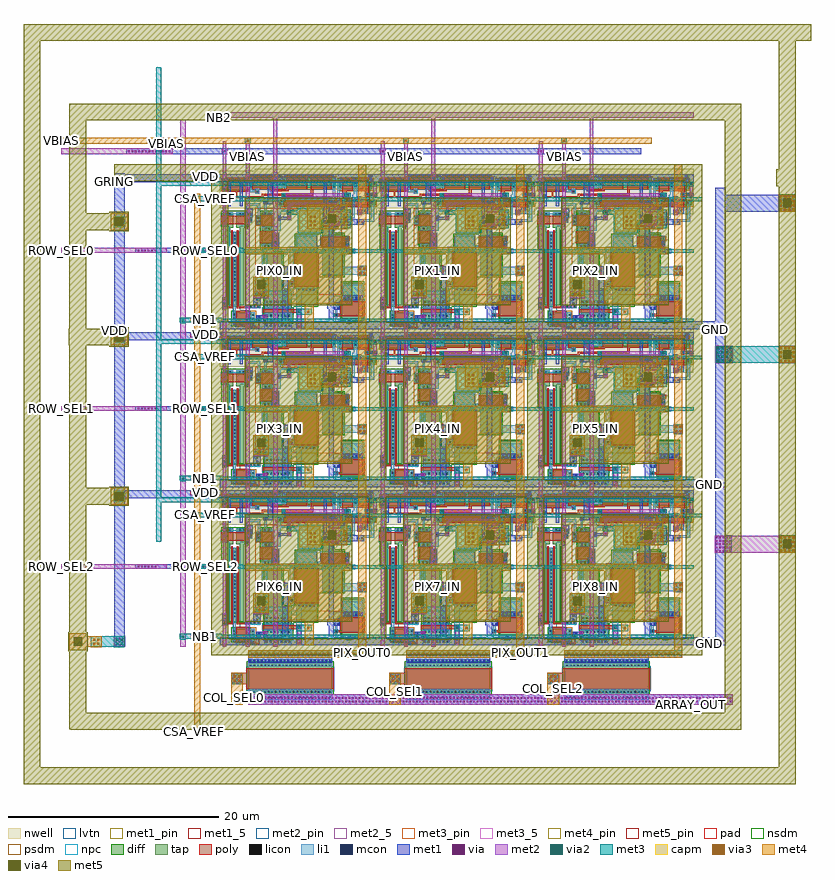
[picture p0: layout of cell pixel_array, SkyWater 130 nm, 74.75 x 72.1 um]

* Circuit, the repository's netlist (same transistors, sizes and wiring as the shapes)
* NGSPICE file created from pixel_array.ext - technology: sky130A

.subckt pixel gring VDD GND VREF ROW_SEL NB1 VBIAS NB2 AMP_IN SF_IB PIX_OUT CSA_VREF
X0 GND GND GND GND sky130_fd_pr__nfet_01v8_lvt ad=3.5 pd=7.5 as=24.809025 ps=56.34 w=2 l=1.44
X1 a_4120_n520# VBIAS a_4120_n750# GND sky130_fd_pr__nfet_01v8_lvt ad=0.35 pd=2.7 as=1.995 ps=8.8 w=1 l=0.8
X2 a_5720_n730# a_4600_n810# GND VDD sky130_fd_pr__pfet_01v8_lvt ad=0.25 pd=1.5 as=0.35 ps=2.7 w=1 l=1
X3 a_4330_n30# a_3852_n32# a_3852_n32# VDD sky130_fd_pr__pfet_01v8_lvt ad=0.23 pd=1.65 as=0.3927 ps=2.8 w=1 l=2
X4 VDD SF_IB a_5720_n730# VDD sky130_fd_pr__pfet_01v8_lvt ad=0.35 pd=2.7 as=0.25 ps=1.5 w=1 l=1
X5 a_5460_10# a_4330_n30# VDD VDD sky130_fd_pr__pfet_01v8_lvt ad=0.175 pd=1.35 as=0.35 ps=2.7 w=1 l=2
X6 a_3852_n32# VBIAS a_3860_n1150# GND sky130_fd_pr__nfet_01v8_lvt ad=0.35 pd=2.7 as=1.76 ps=8.8 w=1 l=0.8
X7 VDD a_4120_n520# a_4600_n810# GND sky130_fd_pr__nfet_01v8_lvt ad=0.3 pd=2.6 as=0.25 ps=1.5 w=1 l=1
X8 a_4120_n750# AMP_IN a_4050_n2590# GND sky130_fd_pr__nfet_01v8_lvt ad=1.995 pd=8.8 as=1.4 ps=7.4 w=7 l=0.15
X9 GND GND GND GND sky130_fd_pr__nfet_01v8_lvt ad=3.119375 pd=7.15 as=0 ps=0 w=2 l=3.35
X10 a_4120_n520# a_3852_n32# a_5460_10# VDD sky130_fd_pr__pfet_01v8_lvt ad=0.35 pd=2.7 as=0.175 ps=1.35 w=1 l=2
X11 AMP_IN a_4600_n810# sky130_fd_pr__cap_mim_m3_1 l=2 w=2
X12 GND NB1 a_4050_n2590# GND sky130_fd_pr__nfet_01v8_lvt ad=0.42 pd=3.1 as=0.42 ps=3.1 w=1.2 l=1
X13 a_5750_n920# ROW_SEL PIX_OUT GND sky130_fd_pr__nfet_01v8_lvt ad=0.6 pd=2.95 as=5.4 ps=9.4 w=2 l=1
X14 a_4050_n2590# VREF a_3860_n1150# GND sky130_fd_pr__nfet_01v8_lvt ad=1.4 pd=7.4 as=1.76 ps=8.8 w=7 l=0.15
X15 a_4600_n810# NB2 GND GND sky130_fd_pr__nfet_01v8_lvt ad=0.25 pd=1.5 as=0.5 ps=3 w=1 l=1.15
X16 VDD a_4330_n30# a_4330_n30# VDD sky130_fd_pr__pfet_01v8_lvt ad=0.35 pd=2.7 as=0.23 ps=1.65 w=1 l=2
X17 VDD a_5720_n730# a_5750_n920# GND sky130_fd_pr__nfet_01v8_lvt ad=0.35 pd=2.7 as=0.6 ps=2.95 w=1 l=0.15
X18 AMP_IN CSA_VREF a_4600_n810# VDD sky130_fd_pr__pfet_01v8_lvt ad=0.294 pd=2.24 as=0.273 ps=2.14 w=0.42 l=8
X19 GND GND GND GND sky130_fd_pr__nfet_01v8_lvt ad=10.715 pd=15.9 as=0 ps=0 w=2.6 l=0.35
.ends

.subckt pixel_array VBIAS VREF NB2 VDD SF_IB CSA_VREF NB1 ROW_SEL0 GND ROW_SEL1 ROW_SEL2
+ PIX0_IN GRING PIX1_IN PIX2_IN PIX3_IN PIX4_IN PIX5_IN PIX6_IN PIX_OUT0 PIX7_IN PIX_OUT1
+ PIX8_IN PIX_OUT2 ARRAY_OUT COL_SEL0 COL_SEl1 COL_SEL2
Xpixel_0 GRING VDD GND VREF ROW_SEL0 NB1 VBIAS NB2 PIX0_IN SF_IB PIX_OUT0 CSA_VREF
+ pixel
Xpixel_1 GRING VDD GND VREF ROW_SEL0 NB1 VBIAS NB2 PIX1_IN SF_IB PIX_OUT1 CSA_VREF
+ pixel
Xpixel_2 GRING VDD GND VREF ROW_SEL0 NB1 VBIAS NB2 PIX2_IN SF_IB PIX_OUT2 CSA_VREF
+ pixel
Xpixel_3 GRING VDD GND VREF ROW_SEL1 NB1 VBIAS NB2 PIX3_IN SF_IB PIX_OUT0 CSA_VREF
+ pixel
Xpixel_5 GRING VDD GND VREF ROW_SEL1 NB1 VBIAS NB2 PIX5_IN SF_IB PIX_OUT2 CSA_VREF
+ pixel
Xpixel_4 GRING VDD GND VREF ROW_SEL1 NB1 VBIAS NB2 PIX4_IN SF_IB PIX_OUT1 CSA_VREF
+ pixel
Xpixel_6 GRING VDD GND VREF ROW_SEL2 NB1 VBIAS NB2 PIX6_IN SF_IB PIX_OUT0 CSA_VREF
+ pixel
Xpixel_7 GRING VDD GND VREF ROW_SEL2 NB1 VBIAS NB2 PIX7_IN SF_IB PIX_OUT1 CSA_VREF
+ pixel
Xpixel_8 GRING VDD GND VREF ROW_SEL2 NB1 VBIAS NB2 PIX8_IN SF_IB PIX_OUT2 CSA_VREF
+ pixel
X0 PIX_OUT2 COL_SEL2 ARRAY_OUT GND sky130_fd_pr__nfet_01v8_lvt ad=4 pd=17 as=3.2 ps=16.8 w=8 l=2
X1 PIX_OUT1 COL_SEl1 ARRAY_OUT GND sky130_fd_pr__nfet_01v8_lvt ad=4 pd=17 as=3.2 ps=16.8 w=8 l=2
X2 PIX_OUT0 COL_SEL0 ARRAY_OUT GND sky130_fd_pr__nfet_01v8_lvt ad=4 pd=17 as=3.2 ps=16.8 w=8 l=2
.ends

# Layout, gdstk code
import gdstk
lib = gdstk.Library(unit=1e-6, precision=1e-09)
def R(c, l, rs):  # rectangles x0, y0, x1, y1
    for r in rs: c.add(gdstk.rectangle(r[:2], r[2:], *l))
def A(c, l, x, y, w, h, nx, ny, dx, dy):  # array of equal rectangles
    R(c, l, [(x+i*dx, y+j*dy, x+i*dx+w, y+j*dy+h) for i in range(nx) for j in range(ny)])
nwell = (64, 20)
diff = (65, 20)
tap = (65, 44)
poly = (66, 20)
licon = (66, 44)
li1 = (67, 20)
mcon = (67, 44)
met1_5 = (68, 5)
met1_pin = (68, 16)
met1 = (68, 20)
via = (68, 44)
met2_5 = (69, 5)
met2_pin = (69, 16)
met2 = (69, 20)
via2 = (69, 44)
met3_5 = (70, 5)
met3_pin = (70, 16)
met3 = (70, 20)
via3 = (70, 44)
met4_pin = (71, 16)
met4 = (71, 20)
via4 = (71, 44)
met5_pin = (72, 16)
met5 = (72, 20)
pad = (76, 20)
capm = (89, 44)
nsdm = (93, 44)
psdm = (94, 20)
npc = (95, 20)
lvtn = (125, 44)

pixel = lib.new_cell('pixel')
R(pixel, nwell, [(24.44,-2.47,33.92,-1.9), (19,-1.9,34,1.68), (22.32,1.68,34,1.88)])
R(pixel, diff, [(20.25,-12.95,21.95,-11.75), (23.25,-12.72,25.85,-9.65), (31.145,-12.715,31.435,-12.43), (30.6,-12.43,32.6,-8.95), (19.8,-11.1,21.3,-5.75), (26.25,-11.1,28.25,-5.65), (23.25,-9.65,24.95,-6.1), (28.75,-8.3,30.75,-4.35), (19.3,-5.75,21.3,-4.1), (23,-5.7,24,-2.25), (26.275,-5.65,28.25,-4.425), (28.75,-4.35,29.75,-3.15), (19.3,-4.1,20,-3.75), (20.9,-4.1,21.3,-3.75), (19.3,-3.75,20.3,-2.25), (20.6,-3.75,21.6,-2.25), (24.45,-1.6,33.8,-1.18), (19.26,-0.16,19.53,-0.15), (19.26,-0.15,21.8,0.05), (30.3,-0.1,33.5,0.9), (19.26,0.05,24.45,0.85), (24.95,0.05,30,1.05), (21.75,0.85,24.45,1.05)])
R(pixel, tap, [(21.95,-12.95,22.35,-11.75), (24.45,0.05,24.95,1.05)])
R(pixel, poly, [(21.45,-13.25,22.8,-13.1), (20.6,-13.1,21.6,-11.6), (22.65,-13.1,22.8,-12.75), (22.55,-12.75,22.9,-12.7), (22.5,-12.7,22.95,-12.35), (29.935,-12.175,30.205,-12.115), (30.44,-12.14,32.75,-12.115), (29.935,-12.115,32.75,-11.905), (29.935,-11.905,30.205,-11.845), (30.44,-11.905,32.75,-11.9), (30.45,-11.9,32.75,-10.7), (23.1,-11.8,26.8,-11.45), (19.25,-11.5,19.7,-11.35), (19.25,-11.35,20.25,-11.2), (20.65,-11.35,22.85,-11.2), (19.25,-11.2,19.7,-11.05), (20.1,-11.2,20.25,-3.95), (20.65,-11.2,20.8,-3.95), (21.4,-11.2,22.85,-11.05), (25.55,-9.35,28.4,-8.8), (26.1,-8.8,28.4,-6), (28.6,-5.6,30.9,-4.95), (22.8,-5.2,24.2,-5.05), (22.8,-5.05,24.65,-4.2), (28.6,-4.95,31.35,-4.6), (30.95,-4.6,31.35,-4.55), (22.8,-4.2,24.2,-4.05), (29.85,-3.75,30.3,-3.65), (28.6,-3.65,30.3,-3.5), (22.5,-3.55,24.15,-2.55), (29.85,-3.5,30.3,-3.4), (19.15,-3.4,21.75,-3.25), (19.15,-3.25,22.1,-2.75), (19.15,-2.75,21.75,-2.6), (32.55,-2.4,33.1,-1.75), (25.1,-1.75,33.1,-1.04), (19.65,-0.92,19.98,-0.9), (19.65,-0.9,23.15,-0.75), (30.65,-0.8,31.05,-0.25), (32.75,-0.8,33.15,-0.25), (19.65,-0.75,19.98,-0.56), (20.515,-0.75,20.665,-0.3), (23,-0.75,23.15,-0.7), (23,-0.7,27.9,-0.5), (22.4,-0.5,22.75,-0.1), (27.65,-0.5,27.9,-0.1), (19.65,-0.3,21.65,1), (23.85,-0.25,25.55,-0.1), (30.65,-0.25,31.65,1.05), (32.15,-0.25,33.15,1.05), (22.1,-0.1,24.1,1.2), (25.3,-0.1,27.3,1.2), (27.65,-0.1,29.65,1.2)])
A(pixel, licon, 22.115, -12.775, 0.17, 0.17, 1, 3, 0, 0.34)
A(pixel, licon, 20.315, -12.75, 0.17, 0.17, 1, 3, 0, 0.34)
A(pixel, licon, 21.715, -12.75, 0.17, 0.17, 1, 3, 0, 0.34)
A(pixel, licon, 23.445, -12.505, 0.17, 0.17, 7, 2, 0.34, 0.34)
A(pixel, licon, 21.555, -11.285, 0.17, 0.17, 4, 1, 0.34, 0)
A(pixel, licon, 23.42, -11.18, 0.17, 0.17, 7, 2, 0.34, 0.34)
A(pixel, licon, 20.365, -10.695, 0.17, 0.17, 1, 19, 0, 0.34)
A(pixel, licon, 30.835, -10.585, 0.17, 0.17, 5, 1, 0.34, 0)
A(pixel, licon, 26.485, -9.66, 0.17, 0.17, 5, 2, 0.34, 3.775)
A(pixel, licon, 28.91, -5.91, 0.17, 0.17, 5, 1, 0.34, 0)
A(pixel, licon, 19.34, -0.07, 0.17, 0.17, 1, 3, 0, 0.34)
A(pixel, licon, 24.215, 0.295, 0.17, 0.17, 3, 2, 0.4, 0.34)
R(pixel, licon, [(31.205,-12.635,31.375,-12.465), (22.64,-12.61,22.81,-12.44), (29.985,-12.095,30.155,-11.925), (26.415,-11.71,26.585,-11.54), (19.39,-11.36,19.56,-11.19), (25.765,-9.16,25.935,-8.99), (23.22,-5.56,23.39,-5.39), (23.56,-5.56,23.73,-5.39), (24.365,-4.88,24.535,-4.71), (31.04,-4.835,31.21,-4.665), (24.365,-4.54,24.535,-4.37), (23.295,-3.885,23.465,-3.715), (23.635,-3.885,23.805,-3.715), (29.99,-3.66,30.16,-3.49), (28.915,-3.385,29.085,-3.215), (29.315,-3.385,29.485,-3.215), (22.59,-3.23,22.76,-3.06), (21.815,-3.085,21.985,-2.915), (22.59,-2.89,22.76,-2.72), (19.545,-2.485,19.715,-2.315), (19.885,-2.485,20.055,-2.315), (20.845,-2.485,21.015,-2.315), (21.185,-2.485,21.355,-2.315), (23.215,-2.475,23.385,-2.305), (23.615,-2.475,23.785,-2.305), (32.74,-2.235,32.91,-2.065), (24.665,-1.51,24.835,-1.34), (33.34,-1.445,33.51,-1.275), (19.715,-0.825,19.885,-0.655), (30.765,-0.66,30.935,-0.49), (32.865,-0.66,33.035,-0.49), (22.515,-0.385,22.685,-0.215), (31.815,0.095,31.985,0.265), (21.85,0.1,22.02,0.27), (29.75,0.1,29.92,0.27), (30.38,0.135,30.55,0.305), (33.265,0.145,33.435,0.315), (31.815,0.435,31.985,0.605), (30.38,0.475,30.55,0.645), (33.265,0.485,33.435,0.655), (21.85,0.5,22.02,0.67), (29.75,0.5,29.92,0.67)])
R(pixel, li1, [(21.9,-13.35,22.15,-12.95), (23.25,-13.35,25.85,-11.8), (26.25,-13.35,26.8,-10.5), (20.25,-12.95,20.55,-11.75), (21.65,-12.95,22.35,-11.75), (22.55,-12.75,22.9,-12.35), (29.975,-12.695,31.435,-12.655), (29.975,-12.655,31.475,-12.615), (29.965,-12.615,31.475,-12.445), (29.965,-12.445,31.435,-12.405), (29.965,-12.405,30.175,-12.095), (22.55,-12.35,23,-12.05), (29.905,-12.095,30.235,-11.925), (29.965,-11.925,30.175,-11.43), (20.3,-11.75,20.55,-11.1), (19.25,-11.5,19.7,-10.75), (29.8,-11.43,30.35,-10.6), (23.3,-11.4,25.75,-10.5), (21.45,-11.35,22.9,-11.05), (20.3,-11.1,20.6,-4.1), (22.2,-11.05,22.9,-10.4), (29.8,-10.6,32.6,-10.2), (23.3,-10.5,26.8,-10), (29.8,-10.2,30.35,-10.175), (30.65,-10.2,32.55,-9.15), (23.3,-10,26.05,-9.7), (26.25,-10,26.8,-9.75), (26.25,-9.75,28.25,-9.45), (25.65,-9.7,26.05,-9.35), (25.6,-9.35,26.1,-8.8), (25.65,-8.8,26.05,-5.9), (28.75,-8.2,32.95,-7.45), (23,-7.9,23.5,-5.7), (28.75,-7.45,30.7,-5.7), (25.65,-5.9,28.25,-5.55), (23,-5.7,23.9,-5.25), (26.3,-5.55,28.2,-4.45), (31,-5.55,31.25,-4.5), (24.1,-5.45,24.65,-5.05), (24.05,-5.05,24.65,-4.2), (23.1,-4,24.8,-3.95), (23,-3.95,24.8,-3.65), (29.95,-3.85,30.2,-3.75), (29.9,-3.75,30.25,-3.4), (23.1,-3.65,24.8,-3.6), (24.45,-3.6,24.8,-2.2), (22.5,-3.45,22.85,-2.55), (32,-3.45,32.65,-3.15), (28.8,-3.4,29.7,-3.1), (29.95,-3.4,30.2,-2.85), (21.7,-3.25,22.1,-2.75), (32,-3.15,33.65,-2.9), (28.8,-3.1,29.15,-2.55), (33.35,-2.9,33.65,-1.55), (29.95,-2.85,31.8,-2.65), (21.85,-2.75,22.1,-2.3), (31.6,-2.65,31.8,-0.9), (19.3,-2.55,20.3,-2.25), (20.6,-2.55,21.6,-2.25), (22.6,-2.55,22.85,-1.65), (23.1,-2.5,24,-2.25), (32.15,-2.4,33.1,-2.15), (19.3,-2.25,19.5,-0.84), (21.4,-2.25,21.6,-1.65), (23.25,-2.25,23.45,-1.45), (24.45,-2.2,26.09,-2), (29.27,-2.2,30.9,-2), (32.6,-2.15,33.05,-1.85), (24.45,-2,24.8,-1.6), (25.89,-2,26.09,-1.99), (30.7,-2,30.9,-0.95), (21.4,-1.65,22.85,-1.4), (24.45,-1.6,25.05,-1.25), (29.35,-1.6,30.4,-1.25), (33.2,-1.55,33.65,-1.18), (23.25,-1.45,23.6,-1.25), (21.4,-1.4,21.6,-1.05), (30.15,-1.25,30.4,-0.1), (21.4,-1.05,29.95,-0.85), (30.65,-0.95,31.05,-0.8), (19.69,-0.92,19.98,-0.84), (31.6,-0.9,32.05,-0.6), (29.75,-0.85,29.95,1.05), (19.3,-0.84,19.98,-0.64), (30.6,-0.8,31.1,-0.4), (32.7,-0.7,33.6,-0.45), (19.3,-0.64,19.5,-0.16), (19.69,-0.64,19.98,-0.56), (31.75,-0.6,32.05,0.85), (22.4,-0.5,22.75,-0.35), (21.85,-0.35,22.75,-0.15), (19.26,-0.16,19.6,-0.15), (19.26,-0.15,19.61,0.85), (21.85,-0.15,22.05,1.05), (22.4,-0.15,22.75,-0.05), (30.15,-0.1,30.55,0.9), (33.25,-0.1,33.45,1.1), (24.1,0.05,25.3,1.05), (24.45,1.05,24.95,1.35), (33.15,1.1,33.55,1.3), (33.25,1.3,33.45,1.35)])
A(pixel, mcon, 23.385, -13.085, 0.17, 0.17, 7, 1, 0.36, 0)
A(pixel, mcon, 30.795, -10.46, 0.17, 0.17, 5, 1, 0.36, 0)
R(pixel, mcon, [(21.915,-13.285,22.085,-13.115), (26.44,-13.215,26.61,-13.045), (26.44,-12.855,26.61,-12.685), (22.69,-12.285,22.86,-12.115), (29.81,-11.42,29.98,-11.25), (30.17,-11.42,30.34,-11.25), (29.81,-11.06,29.98,-10.89), (30.17,-11.06,30.34,-10.89), (22.465,-10.99,22.635,-10.82), (19.39,-10.96,19.56,-10.79), (22.465,-10.63,22.635,-10.46), (32.26,-8.09,32.43,-7.92), (32.62,-8.09,32.79,-7.92), (23.165,-7.735,23.335,-7.565), (32.26,-7.73,32.43,-7.56), (32.62,-7.73,32.79,-7.56), (24.29,-5.36,24.46,-5.19), (31.04,-5.36,31.21,-5.19), (32.06,-3.26,32.23,-3.09), (32.42,-3.26,32.59,-3.09), (28.89,-3.19,29.06,-3.02), (24.54,-2.91,24.71,-2.74), (28.89,-2.83,29.06,-2.66), (21.89,-2.585,22.06,-2.415), (32.19,-2.36,32.36,-2.19), (30.715,-1.965,30.885,-1.795), (29.54,-1.485,29.71,-1.315), (23.34,-1.435,23.51,-1.265), (33.415,-0.66,33.585,-0.49), (24.615,1.09,24.785,1.26), (33.265,1.115,33.435,1.285)])
R(pixel, met1, [(19,-13.35,34,-12.6), (24.95,-12.6,25.5,-7.9), (29.35,-12.6,29.85,-11.49), (22.5,-12.35,23.5,-12.05), (29.35,-11.49,30.38,-11.43), (29.225,-11.43,30.38,-10.88), (22.2,-11.1,22.9,-9.75), (19.25,-11.05,19.7,-10.3), (29.35,-10.88,30.38,-10.82), (29.35,-10.82,29.85,-1.6), (30.6,-10.6,32.6,-10.15), (32.1,-8.2,32.95,-7.45), (22.95,-7.9,25.5,-7.4), (30.95,-6,31.3,-5), (23.95,-5.75,24.65,-5.05), (30.3,-3.45,32.7,-2.9), (28.86,-3.35,29.15,-1.89), (21.85,-3.05,22.1,-2.75), (24.45,-3.05,24.8,-2.95), (24.45,-2.95,25.8,-2.7), (21.8,-2.75,22.15,-2.3), (24.45,-2.7,24.8,-2.6), (25.4,-2.7,25.8,-2.6), (32.05,-2.5,32.5,-2), (21.4,-2.3,22.15,-1.95), (30.67,-2.04,30.93,-1.98), (30.15,-2.01,30.47,-1.98), (30.15,-1.98,30.93,-1.78), (28.87,-1.89,29.15,0.6), (30.15,-1.78,30.47,-1.75), (30.67,-1.78,30.93,-1.72), (19.75,-1.7,20.05,0.6), (20.9,-1.7,21.2,0.6), (29.35,-1.6,29.95,-1.15), (23.15,-1.5,24.05,-1.15), (23.55,-1.15,24.05,0.6), (33.3,-0.75,33.95,-0.4), (19,0.6,34,1.35)])
A(pixel, via, 30.455, -3.25, 0.15, 0.15, 3, 1, 0.32, 0)
R(pixel, via, [(26.475,-13.2,26.625,-13.05), (23.2,-12.275,23.35,-12.125), (19.4,-10.6,19.55,-10.45), (22.315,-10.175,22.465,-10.025), (22.635,-10.175,22.785,-10.025), (32.29,-8.06,32.44,-7.91), (32.61,-8.06,32.76,-7.91), (32.29,-7.74,32.44,-7.59), (32.61,-7.74,32.76,-7.59), (31.05,-5.8,31.2,-5.65), (24.225,-5.625,24.375,-5.475), (25.525,-2.825,25.675,-2.675), (32.2,-2.325,32.35,-2.175), (21.55,-2.175,21.7,-2.025), (30.235,-1.955,30.385,-1.805), (33.675,-0.65,33.825,-0.5)])
R(pixel, met2, [(19.3,-13.5,19.65,1.5), (21.5,-13.5,21.85,-2.3), (24.1,-13.5,24.5,1.5), (26.35,-13.35,26.75,-11.4), (23.1,-12.85,23.5,-12), (22.2,-10.4,23.65,-9.75), (32.1,-8.25,32.95,-7.4), (30.95,-6.1,31.85,-5.75), (30.95,-5.75,31.3,-5.45), (29.35,-3.55,31.45,-2.2), (25.4,-3,25.8,-2), (32.1,-2.55,32.45,-0.75), (21.4,-2.3,21.9,-1.95), (30.18,-2.04,30.44,-1.98), (25.485,-2,25.715,-1.575), (29.91,-1.98,30.44,-1.72), (21.5,-1.95,21.85,1.5), (29.91,-1.72,30.29,-1.58), (29.91,-1.58,30.11,-1.54), (25.485,-1.575,26.095,-1.54), (25.485,-1.54,30.11,-1.345), (25.89,-1.345,30.11,-1.34), (30.955,-0.85,31.305,-0.805), (33.6,-0.85,33.9,0.65), (24.92,-0.825,25.22,-0.805), (24.895,-0.805,31.305,-0.455), (24.92,-0.455,25.22,-0.435), (30.955,-0.455,31.305,-0.41)])
A(pixel, via2, 22.425, -10.125, 0.2, 0.2, 3, 1, 0.4, 0)
R(pixel, via2, [(23.2,-12.675,23.4,-12.475), (26.45,-11.775,26.65,-11.575), (32.225,-8.125,32.425,-7.925), (32.625,-8.125,32.825,-7.925), (32.225,-7.725,32.425,-7.525), (32.625,-7.725,32.825,-7.525), (31.475,-6.025,31.675,-5.825), (30.9,-3.225,31.1,-3.025), (30.9,-2.825,31.1,-2.625), (25.525,-2.35,25.725,-2.15), (32.175,-1.125,32.375,-0.925), (24.97,-0.73,25.17,-0.53), (31.03,-0.73,31.23,-0.53), (33.65,0.35,33.85,0.55)])
R(pixel, met3, [(23.1,-12.8,23.5,-12.7), (19,-12.7,34,-12.35), (26.25,-12,27.75,-11.4), (22.2,-10.25,23.65,-8.4), (32.1,-8.3,32.95,-7.35), (31.3,-6.15,31.85,-6.1), (19,-6.1,34,-5.75), (31.3,-5.75,31.85,-5.7), (26.4,-4.2,28.85,-2.5), (30.5,-3.79,31.42,-2.01), (25.4,-2.5,28.85,-2.45), (25.35,-2.45,28.85,-2.1), (25.4,-2.1,28.85,-2.05), (26.4,-2.05,28.85,-1.9), (32.05,-1.25,32.5,-1.2), (18.7,-1.2,25.245,-0.85), (30.63,-1.2,34.8,-0.85), (24.895,-0.85,25.245,-0.455), (30.87,-0.85,31.42,-0.43), (32.05,-0.85,32.5,-0.8), (33.55,0.2,33.95,0.25), (19,0.25,34,0.6), (33.55,0.6,33.95,0.65)])
A(pixel, via3, 22.65, -10.075, 0.2, 0.2, 1, 4, 0, 0.4)
A(pixel, via3, 23.05, -10.075, 0.2, 0.2, 1, 4, 0, 0.4)
A(pixel, via3, 27.54, -3.6, 0.2, 0.2, 1, 3, 0, 0.4)
A(pixel, via3, 27.94, -3.6, 0.2, 0.2, 1, 3, 0, 0.4)
A(pixel, via3, 30.735, -3.4, 0.2, 0.2, 1, 3, 0, 0.4)
R(pixel, via3, [(27.325,-11.8,27.525,-11.6), (32.225,-8.125,32.425,-7.925), (32.625,-8.125,32.825,-7.925), (32.225,-7.725,32.425,-7.525), (32.625,-7.725,32.825,-7.525)])
R(pixel, met4, [(32.15,-14.3,32.9,-8.25), (27.1,-13.35,27.95,-10.95), (25.5,-10.95,30.65,-6.25), (22.2,-10.25,23.65,-8.4), (32.1,-8.25,32.95,-7.4), (32.15,-7.4,32.9,2.3), (21.4,-6.25,31.6,-5.6), (27.3,-3.85,31.1,-1.55)])
R(pixel, via4, [(22.55,-9.525,23.35,-8.725), (29.25,-3.275,30.05,-2.475)])
R(pixel, met5, [(18.2,-14.3,34.8,-12.7), (18.2,-12.7,19.8,0.7), (33.2,-12.7,34.8,0.7), (21.4,-11.1,31.6,-0.9), (18.2,0.7,34.8,2.3)])
R(pixel, pad, [(22.4,-10.1,30.6,-1.9)])
R(pixel, capm, [(26.55,-4.05,28.55,-2.05)])
R(pixel, nsdm, [(20.125,-13.075,21.95,-11.625), (23.125,-12.845,25.975,-11.225), (31.02,-12.84,31.56,-12.555), (30.475,-12.555,32.725,-8.825), (19.675,-11.225,21.425,-5.875), (23.125,-11.225,28.375,-9.525), (23.125,-9.525,25.075,-5.975), (26.125,-9.525,28.375,-8.425), (26.125,-8.425,30.875,-5.525), (23.125,-5.975,24.125,-5.825), (19.175,-5.875,21.425,-3.875), (22.875,-5.825,24.125,-2.125), (26.15,-5.525,30.875,-4.3), (28.625,-4.3,30.875,-4.225), (28.625,-4.225,29.875,-3.025), (19.175,-3.875,21.725,-2.125), (24.45,-0.075,24.95,1.175)])
R(pixel, psdm, [(21.95,-13.075,22.475,-11.625), (24.325,-1.725,33.925,-1.055), (19.135,-0.285,19.655,-0.275), (19.135,-0.275,21.925,-0.075), (30.175,-0.225,33.625,-0.075), (19.135,-0.075,24.45,0.975), (24.95,-0.075,33.625,1.025), (21.625,0.975,24.45,1.175), (24.95,1.025,30.125,1.175)])
R(pixel, npc, [(22.54,-12.71,22.91,-12.34), (29.885,-12.195,30.255,-11.825), (26.315,-11.81,26.685,-11.44), (19.29,-11.46,19.66,-11.09), (21.455,-11.385,22.845,-11.015), (25.665,-9.26,26.035,-8.89), (24.265,-4.98,24.635,-4.27), (30.94,-4.935,31.31,-4.565), (29.89,-3.76,30.26,-3.39), (22.49,-3.33,22.86,-2.62), (21.715,-3.185,22.085,-2.815), (32.64,-2.335,33.01,-1.965), (19.615,-0.925,19.985,-0.555), (30.665,-0.76,31.035,-0.39), (32.765,-0.76,33.135,-0.39), (22.415,-0.485,22.785,-0.115)])
R(pixel, lvtn, [(20.42,-13.13,21.78,-11.9), (30.42,-12.32,32.78,-10.52), (23.07,-11.98,26.03,-11.27), (20.235,-11.9,21.78,-11.57), (20.235,-11.57,20.98,-11.28), (19.92,-11.28,20.98,-3.58), (26.07,-9.53,28.43,-6.185), (26.07,-6.185,28.69,-5.82), (28.31,-5.82,28.69,-5.78), (28.31,-5.78,30.93,-5.415), (28.57,-5.415,30.93,-4.42), (22.82,-5.38,24.18,-2.37), (28.57,-3.83,29.93,-3.32), (19.12,-3.58,21.78,-2.42), (24.92,-1.78,33.28,-1), (19.47,-0.33,21.83,-0.13), (30.47,-0.28,33.33,1.08), (19.47,-0.13,24.28,1.03), (25.12,-0.13,29.83,1.23), (21.92,1.03,24.28,1.23)])
pixel.add(gdstk.Label('gring', (33.5,-8.4), layer=72, texttype=5))
pixel.add(gdstk.Label('VDD', (19.15,1.2), layer=68, texttype=5))
pixel.add(gdstk.Label('GND', (19.55,-13.1), layer=68, texttype=5))
pixel.add(gdstk.Label('VREF', (19.35,1.45), layer=69, texttype=5))
pixel.add(gdstk.Label('ROW_SEL', (33.9,-5.9), layer=70, texttype=5))
pixel.add(gdstk.Label('NB1', (33.85,-12.55), layer=70, texttype=5))
pixel.add(gdstk.Label('VBIAS', (21.65,1.45), layer=69, texttype=5))
pixel.add(gdstk.Label('NB2', (24.3,1.4), layer=69, texttype=5))
pixel.add(gdstk.Label('AMP_IN', (28.45,-9.75), layer=72, texttype=5))
pixel.add(gdstk.Label('SF_IB', (33.95,0.5), layer=70, texttype=5))
pixel.add(gdstk.Label('PIX_OUT', (32.55,-14.25), layer=71, texttype=5))
pixel.add(gdstk.Label('CSA_VREF', (19,-1), layer=70, texttype=5))

pixel_array = lib.new_cell('pixel_array')
A(pixel_array, diff, 2.7, -34.4, 8, 2.9, 3, 1, 15, 0)
A(pixel_array, poly, 2.55, -34, 8.3, 0.45, 3, 2, 15, 1.55)
A(pixel_array, poly, 1.1, -33.55, 9.75, 1.1, 3, 1, 15, 0)
A(pixel_array, licon, 2.875, -34.335, 0.17, 0.17, 23, 2, 0.34, 2.5)
A(pixel_array, licon, 17.875, -34.335, 0.17, 0.17, 23, 2, 0.34, 2.5)
A(pixel_array, licon, 32.875, -34.335, 0.17, 0.17, 23, 2, 0.34, 2.5)
A(pixel_array, licon, 1.225, -33.425, 0.17, 0.17, 3, 3, 0.34, 0.34)
A(pixel_array, licon, 16.225, -33.425, 0.17, 0.17, 3, 3, 0.34, 0.34)
A(pixel_array, licon, 31.225, -33.425, 0.17, 0.17, 3, 3, 0.34, 0.34)
A(pixel_array, li1, 2.7, -35, 8, 1, 3, 1, 15, 0)
A(pixel_array, li1, 1.1, -33.55, 1.1, 1.1, 3, 1, 15, 0)
A(pixel_array, li1, 2.7, -31.9, 8, 0.75, 3, 1, 15, 0)
R(pixel_array, li1, [(47.13,-3.02,48.67,-1.48)])
A(pixel_array, mcon, 2.835, -34.835, 0.17, 0.17, 22, 2, 0.36, 3.45)
A(pixel_array, mcon, 17.835, -34.835, 0.17, 0.17, 22, 2, 0.36, 3.45)
A(pixel_array, mcon, 32.835, -34.835, 0.17, 0.17, 22, 2, 0.36, 3.45)
A(pixel_array, mcon, 1.205, -33.445, 0.17, 0.17, 3, 3, 0.36, 0.36)
A(pixel_array, mcon, 16.205, -33.445, 0.17, 0.17, 3, 3, 0.36, 0.36)
A(pixel_array, mcon, 31.205, -33.445, 0.17, 0.17, 3, 3, 0.36, 0.36)
A(pixel_array, mcon, 47.275, -2.875, 0.17, 0.17, 4, 4, 0.36, 0.36)
R(pixel_array, met1_5, [(45,-29.85,48,-29.4), (-2.8,-15.6,0.2,-15.15), (45,-14.85,48,-14.4), (-2.8,-0.6,0.2,-0.15)])
R(pixel_array, met1_pin, [(45,0.15,48,0.6), (-2.8,14.4,0.2,14.85)])
A(pixel_array, met1, 1.1, -33.55, 1.1, 1.1, 3, 1, 15, 0)
A(pixel_array, met1, 2.7, -31.5, 8, 0.85, 3, 1, 15, 0)
A(pixel_array, met1, 45, -29.85, 3, 0.75, 1, 3, 0, 15)
A(pixel_array, met1, -8, -22.6, 8, 0.45, 1, 3, 0, 15)
R(pixel_array, met1, [(2.7,-35.5,48.7,-34.5), (-10.03,-30,-8.97,-29), (14.3,-29.55,15,-29.15), (47,-29.1,48,-21.08), (-10,-29,-9,-16.2), (47,-21.08,48.6,-19.42), (47,-19.42,48,-14.85), (-10.03,-16.2,-8.97,-15.9), (-10.03,-15.9,0,-15.6), (-10.03,-15.6,0.2,-15.2), (-10,-15.2,0.2,-15.15), (-10,-15.15,-9,-1.1), (47,-14.1,48,-3.08), (47,-3.08,48.7,-3.05), (47,-3.05,48.73,-1.45), (47,-1.45,48.7,-1.42), (47,-1.42,48,0.15), (-10.03,-1.1,-8.97,-0.9), (-10.03,-0.9,0,-0.6), (-10.03,-0.6,0.2,-0.15), (-10.03,-0.15,-8.97,-0.1), (-10,-0.1,-9,9.85), (47,0.9,48,11.3), (-10.03,9.85,-8.97,10.85), (-10,10.85,-9,14.1), (53.05,11.27,54.65,11.3), (47,11.3,54.65,12.9), (47,12.9,48,13.55), (53.05,12.9,54.65,12.93), (-10,14.1,0,14.4), (-10,14.4,0.2,14.85), (-10,14.85,-9,14.95), (-8.85,16.75,40,17.3)])
A(pixel_array, via, 2.955, -35.235, 0.15, 0.15, 143, 2, 0.32, 0.32)
A(pixel_array, via, 1.255, -33.395, 0.15, 0.15, 3, 3, 0.32, 0.32)
A(pixel_array, via, 16.255, -33.395, 0.15, 0.15, 3, 3, 0.32, 0.32)
A(pixel_array, via, 31.255, -33.395, 0.15, 0.15, 3, 3, 0.32, 0.32)
A(pixel_array, via, 2.945, -30.9, 0.15, 0.15, 24, 1, 0.32, 0)
A(pixel_array, via, 17.945, -30.9, 0.15, 0.15, 24, 1, 0.32, 0)
A(pixel_array, via, 32.945, -30.9, 0.15, 0.15, 24, 1, 0.32, 0)
A(pixel_array, via, -9.895, -29.895, 0.15, 0.15, 3, 3, 0.32, 0.32)
A(pixel_array, via, -7.775, -22.45, 0.15, 0.15, 6, 3, 0.32, 15)
A(pixel_array, via, -2.555, -22.45, 0.15, 0.15, 4, 3, 0.32, 15)
A(pixel_array, via, 47.085, -20.965, 0.15, 0.15, 5, 5, 0.32, 0.32)
A(pixel_array, via, -9.895, -16.095, 0.15, 0.15, 3, 3, 0.32, 0.32)
A(pixel_array, via, 47.185, -2.965, 0.15, 0.15, 5, 5, 0.32, 0.32)
A(pixel_array, via, -9.895, -0.995, 0.15, 0.15, 3, 3, 0.32, 0.32)
A(pixel_array, via, -9.895, 9.955, 0.15, 0.15, 3, 3, 0.32, 0.32)
A(pixel_array, via, 53.135, 11.385, 0.15, 0.15, 5, 5, 0.32, 0.32)
A(pixel_array, via, -8.67, 16.95, 0.15, 0.15, 13, 1, 0.32, 0)
A(pixel_array, via, 0.4, 16.95, 0.15, 0.15, 3, 1, 15, 0)
R(pixel_array, met2_5, [(15.3,15,15.65,18), (17.5,15,17.85,18), (20.1,15,20.45,18), (30.3,15,30.65,18), (32.5,15,32.85,18), (35.1,15,35.45,18)])
R(pixel_array, met2_pin, [(0.3,15,0.65,18), (2.5,15,2.85,18), (5.1,15,5.45,18)])
A(pixel_array, met2, 1.1, -33.55, 1.1, 1.1, 3, 1, 15, 0)
A(pixel_array, met2, 2.7, -31, 11.2, 0.7, 3, 1, 15, 0)
A(pixel_array, met2, -15, -22.6, 10, 0.45, 1, 3, 0, 15)
A(pixel_array, met2, -2.8, -22.6, 1.5, 0.45, 1, 3, 0, 15)
A(pixel_array, met2, 0.3, 15, 0.35, 1.75, 3, 1, 15, 0)
A(pixel_array, met2, 2.5, 15, 0.35, 2.75, 3, 1, 15, 0)
A(pixel_array, met2, 5.1, 15, 0.35, 5.2, 3, 1, 15, 0)
A(pixel_array, met2, 0.2, 16.75, 0.55, 0.55, 3, 1, 15, 0)
A(pixel_array, met2, 0.3, 17.3, 0.35, 0.7, 3, 1, 15, 0)
A(pixel_array, met2, 2.4, 17.75, 0.55, 0.55, 3, 1, 15, 0)
R(pixel_array, met2, [(2.7,-35.5,48.7,-34.5), (-10,-30.03,-9,-30), (-10.045,-30,-8.955,-29), (-3.75,-30,-3.2,20), (-10,-29,-9,-28.97), (53.075,-21.07,54.625,-21.05), (46.97,-21.05,54.65,-19.45), (53.075,-19.45,54.625,-19.43), (-10,-16.23,-9,-16.2), (-10.045,-16.2,-8.955,-15.2), (-10,-15.2,-9,-15.17), (47.125,-3.07,48.675,-3.05), (47.07,-3.05,48.73,-1.45), (47.125,-1.45,48.675,-1.43), (-10,-1.13,-9,-1.1), (-10.045,-1.1,-8.955,-0.1), (-10,-0.1,-9,-0.07), (-10,9.82,-9,9.85), (-10.045,9.85,-8.955,10.85), (-10,10.85,-9,10.88), (53.075,11.28,54.625,11.3), (53.02,11.3,54.68,12.9), (53.075,12.9,54.625,12.92), (-15,16.75,-4.45,17.3), (0,20.2,45,20.75)])
A(pixel_array, via2, 3, -30.75, 0.2, 0.2, 27, 1, 0.4, 0)
A(pixel_array, via2, 18, -30.75, 0.2, 0.2, 27, 1, 0.4, 0)
A(pixel_array, via2, 33, -30.75, 0.2, 0.2, 27, 1, 0.4, 0)
A(pixel_array, via2, -3.575, -29.125, 0.2, 0.2, 1, 3, 0, 15)
A(pixel_array, via2, -2.5, -22.475, 0.2, 0.2, 3, 3, 0.4, 15)
A(pixel_array, via2, 53.15, -20.95, 0.2, 0.2, 4, 4, 0.4, 0.4)
A(pixel_array, via2, 47.2, -2.95, 0.2, 0.2, 4, 4, 0.4, 0.4)
A(pixel_array, via2, 53.15, 11.4, 0.2, 0.2, 4, 4, 0.4, 0.4)
A(pixel_array, via2, 2.575, 17.925, 0.2, 0.2, 3, 1, 15, 0)
R(pixel_array, via2, [(1.35,-33.3,1.55,-33.1), (1.75,-33.3,1.95,-33.1), (16.35,-33.3,16.55,-33.1), (16.75,-33.3,16.95,-33.1), (31.35,-33.3,31.55,-33.1), (31.75,-33.3,31.95,-33.1), (1.35,-32.9,1.55,-32.7), (1.75,-32.9,1.95,-32.7), (16.35,-32.9,16.55,-32.7), (16.75,-32.9,16.95,-32.7), (31.35,-32.9,31.55,-32.7), (31.75,-32.9,31.95,-32.7), (-9.8,-29.8,-9.6,-29.6), (-9.4,-29.8,-9.2,-29.6), (-9.8,-29.4,-9.6,-29.2), (-9.4,-29.4,-9.2,-29.2), (-9.8,-16,-9.6,-15.8), (-9.4,-16,-9.2,-15.8), (-9.8,-15.6,-9.6,-15.4), (-9.4,-15.6,-9.2,-15.4), (-9.8,-0.9,-9.6,-0.7), (-9.4,-0.9,-9.2,-0.7), (-9.8,-0.5,-9.6,-0.3), (-9.4,-0.5,-9.2,-0.3), (-9.8,10.05,-9.6,10.25), (-9.4,10.05,-9.2,10.25), (-9.8,10.45,-9.6,10.65), (-9.4,10.45,-9.2,10.65)])
R(pixel_array, met3_5, [(-2.8,-29.2,0.2,-28.75), (-2.8,-17.7,0.2,-17.25), (-2.8,-16.25,0.2,-15.8), (-2.8,-14.2,0.2,-13.75), (-2.8,-2.7,0.2,-2.25), (-2.8,-1.25,0.2,-0.8)])
R(pixel_array, met3_pin, [(-2.8,-22.6,0.2,-22.15), (-2.8,-7.6,0.2,-7.15), (-2.8,0.8,0.2,1.25), (-2.8,7.4,0.2,7.85), (-2.8,12.3,0.2,12.75), (-2.8,13.75,0.2,14.2)])
A(pixel_array, met3, 1.1, -33.55, 1.1, 1.1, 3, 1, 15, 0)
A(pixel_array, met3, 2.7, -31, 11.2, 0.7, 3, 1, 15, 0)
A(pixel_array, met3, -3.75, -29.3, 0.55, 0.1, 1, 3, 0, 15)
A(pixel_array, met3, -3.8, -29.2, 4, 0.45, 1, 3, 0, 15)
A(pixel_array, met3, -2.8, -22.6, 5, 0.45, 1, 3, 0, 15)
A(pixel_array, met3, -2.8, -17.7, 5.4, 0.45, 1, 3, 0, 15)
A(pixel_array, met3, -6, -16.25, 7, 0.45, 1, 3, 0, 15)
A(pixel_array, met3, 2.4, 17.75, 0.55, 0.55, 3, 1, 15, 0)
R(pixel_array, met3, [(-10.025,-30.025,-8.975,-30), (-12.23,-30,-8.975,-29), (-10.025,-29,-8.975,-28.975), (53.055,-21.075,54.645,-21.05), (53.05,-21.05,54.65,-19.45), (-6,-20,-5.55,-16.25), (53.055,-19.45,54.645,-19.425), (-2.4,-17.75,-1.85,-17.7), (-2.4,-17.25,-1.85,-17.2), (-10.055,-16.225,-8.975,-15.175), (-6,-15.8,-5.55,-1.25), (53.055,-3.075,54.645,-3.05), (47.1,-3.05,54.65,-1.45), (-2.4,-2.75,-1.85,-2.7), (-2.4,-2.25,-1.85,-2.2), (53.055,-1.45,54.645,-1.425), (-10.055,-1.125,-8.975,-0.075), (-6,-0.8,-5.55,13.75), (-10.055,9.825,-8.975,10.875), (53.055,11.275,54.645,11.3), (53.05,11.3,54.65,12.9), (-2.4,12.25,-1.85,12.3), (-2.4,12.75,-1.85,12.8), (53.055,12.9,54.645,12.925), (-6,14.2,-5.55,25)])
A(pixel_array, via3, 3, -30.75, 0.2, 0.2, 27, 1, 0.4, 0)
A(pixel_array, via3, 18, -30.75, 0.2, 0.2, 27, 1, 0.4, 0)
A(pixel_array, via3, 33, -30.75, 0.2, 0.2, 27, 1, 0.4, 0)
A(pixel_array, via3, 53.15, -20.95, 0.2, 0.2, 4, 4, 0.4, 0.4)
A(pixel_array, via3, -2.225, -17.575, 0.2, 0.2, 1, 3, 0, 15)
A(pixel_array, via3, 53.15, -2.95, 0.2, 0.2, 4, 4, 0.4, 0.4)
A(pixel_array, via3, 53.15, 11.4, 0.2, 0.2, 4, 4, 0.4, 0.4)
A(pixel_array, via3, 2.575, 17.925, 0.2, 0.2, 3, 1, 15, 0)
R(pixel_array, via3, [(1.35,-33.3,1.55,-33.1), (1.75,-33.3,1.95,-33.1), (16.35,-33.3,16.55,-33.1), (16.75,-33.3,16.95,-33.1), (31.35,-33.3,31.55,-33.1), (31.75,-33.3,31.95,-33.1), (1.35,-32.9,1.55,-32.7), (1.75,-32.9,1.95,-32.7), (16.35,-32.9,16.55,-32.7), (16.75,-32.9,16.95,-32.7), (31.35,-32.9,31.55,-32.7), (31.75,-32.9,31.95,-32.7), (-12,-29.8,-11.8,-29.6), (-11.6,-29.8,-11.4,-29.6), (-12,-29.4,-11.8,-29.2), (-11.6,-29.4,-11.4,-29.2), (-9.825,-16,-9.625,-15.8), (-9.425,-16,-9.225,-15.8), (-9.825,-15.6,-9.625,-15.4), (-9.425,-15.6,-9.225,-15.4), (-9.825,-0.9,-9.625,-0.7), (-9.425,-0.9,-9.225,-0.7), (-9.825,-0.5,-9.625,-0.3), (-9.425,-0.5,-9.225,-0.3), (-9.825,10.05,-9.625,10.25), (-9.425,10.05,-9.225,10.25), (-9.825,10.45,-9.625,10.65), (-9.425,10.45,-9.225,10.65)])
A(pixel_array, met4_pin, 13.15, -31, 0.75, 1, 3, 1, 15, 0)
A(pixel_array, met4, 1.1, -35.5, 1.1, 3.05, 3, 1, 15, 0)
A(pixel_array, met4, 2.7, -31, 11.2, 0.7, 3, 1, 15, 0)
A(pixel_array, met4, 13.15, -30.3, 0.75, 0.3, 3, 1, 15, 0)
R(pixel_array, met4, [(-2.4,-38,-1.85,13), (-14.25,-30.3,-12.65,-30), (-12.205,-30.005,-11.195,-30), (-14.25,-30,-11.195,-29), (-14.25,-29,-12.65,-28.7), (-12.205,-29,-11.195,-28.995), (53.05,-21.05,54.65,-19.45), (-10.325,-16.5,-8.725,-14.9), (53.05,-3.05,54.65,-1.45), (-10.325,-1.4,-8.725,0.2), (-10.325,9.55,-8.725,11.15), (53.05,11.3,54.65,12.9), (-15,17.75,41,18.3)])
R(pixel_array, via4, [(-13.85,-29.9,-13.05,-29.1), (53.45,-20.65,54.25,-19.85), (-9.925,-16.1,-9.125,-15.3), (53.45,-2.65,54.25,-1.85), (-9.925,-1,-9.125,-0.2), (-9.925,9.95,-9.125,10.75), (53.45,11.7,54.25,12.5)])
A(pixel_array, met5_pin, 5.2, -24.8, 1, 1, 3, 3, 15, 15)
A(pixel_array, met5, 5.2, -24.8, 1, 1, 3, 3, 15, 15)
R(pixel_array, met5, [(-18.6,-43,54.65,-41.4), (-18.6,-41.4,-17,27.5), (53.05,-41.4,54.65,13.7), (-14.1,-37.85,49.5,-37.8), (-14.25,-37.8,49.5,-36.25), (-14.25,-36.25,-12.65,-30.42), (47.9,-36.25,49.5,19.95), (-14.37,-30.42,-12.53,-28.58), (-14.25,-28.58,-12.65,-16.5), (-10.445,-16.62,-8.605,-16.5), (-14.25,-16.5,-8.605,-14.9), (-14.25,-14.9,-12.65,-1.4), (-10.445,-14.9,-8.605,-14.78), (-10.445,-1.52,-8.605,-1.4), (-14.3,-1.4,-8.605,0.2), (-14.25,0.2,-12.65,9.55), (-10.445,0.2,-8.605,0.32), (-10.445,9.43,-8.605,9.55), (-14.25,9.55,-8.605,11.15), (-14.25,11.15,-12.65,19.95), (-10.445,11.15,-8.605,11.27), (52.8,13.7,54.65,15.3), (-10,14.2,0,15.8), (53.05,15.3,54.65,27.5), (-14.25,19.95,49.5,21.55), (-18.6,27.5,56.15,29.1)])
A(pixel_array, nsdm, 2.575, -34.525, 8.25, 3.15, 3, 1, 15, 0)
A(pixel_array, npc, 1.125, -33.525, 1.05, 1.05, 3, 1, 15, 0)
A(pixel_array, lvtn, 2.52, -34.18, 8.36, 2.36, 3, 1, 15, 0)
pixel_array.add(gdstk.Reference(pixel, (11,-16.5)))
pixel_array.add(gdstk.Reference(pixel, (-4,-16.5)))
pixel_array.add(gdstk.Reference(pixel, (-19,-16.5)))
pixel_array.add(gdstk.Reference(pixel, (11,-1.5)))
pixel_array.add(gdstk.Reference(pixel, (-4,-1.5)))
pixel_array.add(gdstk.Reference(pixel, (-19,-1.5)))
pixel_array.add(gdstk.Reference(pixel, (11,13.5)))
pixel_array.add(gdstk.Reference(pixel, (-4,13.5)))
pixel_array.add(gdstk.Reference(pixel, (-19,13.5)))
pixel_array.add(gdstk.Label('VBIAS', (17.675,16.5), layer=69, texttype=5))
pixel_array.add(gdstk.Label('VREF', (15.475,16.5), layer=69, texttype=5))
pixel_array.add(gdstk.Label('NB2', (20.275,16.5), layer=69, texttype=5))
pixel_array.add(gdstk.Label('VBIAS', (32.675,16.5), layer=69, texttype=5))
pixel_array.add(gdstk.Label('VREF', (30.475,16.5), layer=69, texttype=5))
pixel_array.add(gdstk.Label('NB2', (35.275,16.5), layer=69, texttype=5))
pixel_array.add(gdstk.Label('VDD', (-1.3,-0.375), layer=68, texttype=5))
pixel_array.add(gdstk.Label('SF_IB', (-1.3,-1.025), layer=70, texttype=5))
pixel_array.add(gdstk.Label('CSA_VREF', (-1.3,-2.475), layer=70, texttype=5))
pixel_array.add(gdstk.Label('NB1', (-1.3,-13.975), layer=70, texttype=5))
pixel_array.add(gdstk.Label('GND', (46.5,-14.625), layer=68, texttype=5))
pixel_array.add(gdstk.Label('VDD', (-1.3,-15.375), layer=68, texttype=5))
pixel_array.add(gdstk.Label('SF_IB', (-1.3,-16.025), layer=70, texttype=5))
pixel_array.add(gdstk.Label('CSA_VREF', (-1.3,-17.475), layer=70, texttype=5))
pixel_array.add(gdstk.Label('NB1', (-1.3,-28.975), layer=70, texttype=5))
pixel_array.add(gdstk.Label('GND', (46.5,-29.625), layer=68, texttype=5))
pixel_array.add(gdstk.Label('VBIAS', (-15,18.025), layer=71, texttype=5))
pixel_array.add(gdstk.Label('VBIAS', (-5,17.75), layer=71, texttype=5))
pixel_array.add(gdstk.Label('VBIAS', (2.675,16.5), layer=69, texttype=5))
pixel_array.add(gdstk.Label('VREF', (-15,17), layer=69, texttype=5))
pixel_array.add(gdstk.Label('VREF', (-5,16.75), layer=68, texttype=5))
pixel_array.add(gdstk.Label('VREF', (0.475,16.5), layer=69, texttype=5))
pixel_array.add(gdstk.Label('NB2', (0,20.2), layer=69, texttype=5))
pixel_array.add(gdstk.Label('NB2', (5.275,16.5), layer=69, texttype=5))
pixel_array.add(gdstk.Label('VDD', (-1.3,14.625), layer=68, texttype=5))
pixel_array.add(gdstk.Label('VDD', (-10,0), layer=68, texttype=5))
pixel_array.add(gdstk.Label('SF_IB', (-1.3,13.975), layer=70, texttype=5))
pixel_array.add(gdstk.Label('CSA_VREF', (-2.4,-38), layer=71, texttype=5))
pixel_array.add(gdstk.Label('CSA_VREF', (-1.3,12.525), layer=70, texttype=5))
pixel_array.add(gdstk.Label('NB1', (-3.7,17.8), layer=69, texttype=5))
pixel_array.add(gdstk.Label('NB1', (-1.3,1.025), layer=70, texttype=5))
pixel_array.add(gdstk.Label('ROW_SEL0', (-15,7.625), layer=69, texttype=5))
pixel_array.add(gdstk.Label('ROW_SEL0', (-15,7.4), layer=69, texttype=5))
pixel_array.add(gdstk.Label('ROW_SEL0', (-1.3,7.625), layer=70, texttype=5))
pixel_array.add(gdstk.Label('GND', (47,0.15), layer=68, texttype=5))
pixel_array.add(gdstk.Label('GND', (46.5,0.375), layer=68, texttype=5))
pixel_array.add(gdstk.Label('ROW_SEL1', (-15,-7.375), layer=69, texttype=5))
pixel_array.add(gdstk.Label('ROW_SEL1', (-15,-7.6), layer=69, texttype=5))
pixel_array.add(gdstk.Label('ROW_SEL1', (-1.3,-7.375), layer=70, texttype=5))
pixel_array.add(gdstk.Label('ROW_SEL2', (-15,-22.375), layer=69, texttype=5))
pixel_array.add(gdstk.Label('ROW_SEL2', (-15,-22.6), layer=69, texttype=5))
pixel_array.add(gdstk.Label('ROW_SEL2', (-1.3,-22.375), layer=70, texttype=5))
pixel_array.add(gdstk.Label('PIX0_IN', (5.7,5.7), layer=72, texttype=5))
pixel_array.add(gdstk.Label('GRING', (-10,14.2), layer=72, texttype=5))
pixel_array.add(gdstk.Label('PIX1_IN', (20.7,5.7), layer=72, texttype=5))
pixel_array.add(gdstk.Label('PIX2_IN', (35.7,5.7), layer=72, texttype=5))
pixel_array.add(gdstk.Label('PIX3_IN', (5.7,-9.3), layer=72, texttype=5))
pixel_array.add(gdstk.Label('PIX4_IN', (20.7,-9.3), layer=72, texttype=5))
pixel_array.add(gdstk.Label('PIX5_IN', (35.7,-9.3), layer=72, texttype=5))
pixel_array.add(gdstk.Label('PIX6_IN', (5.7,-24.3), layer=72, texttype=5))
pixel_array.add(gdstk.Label('PIX_OUT0', (13.525,-30.5), layer=71, texttype=5))
pixel_array.add(gdstk.Label('PIX7_IN', (20.7,-24.3), layer=72, texttype=5))
pixel_array.add(gdstk.Label('PIX_OUT1', (28.525,-30.5), layer=71, texttype=5))
pixel_array.add(gdstk.Label('PIX8_IN', (35.7,-24.3), layer=72, texttype=5))
pixel_array.add(gdstk.Label('PIX_OUT2', (43.525,-30.5), layer=71, texttype=5))
pixel_array.add(gdstk.Label('ARRAY_OUT', (44.7,-35.5), layer=69, texttype=5))
pixel_array.add(gdstk.Label('COL_SEL0', (1.415,-34.79), layer=71, texttype=5))
pixel_array.add(gdstk.Label('COL_SEl1', (16.73,-34.205), layer=71, texttype=5))
pixel_array.add(gdstk.Label('COL_SEL2', (31.685,-33.975), layer=71, texttype=5))

lib.write_gds('pixel_array.gds')
